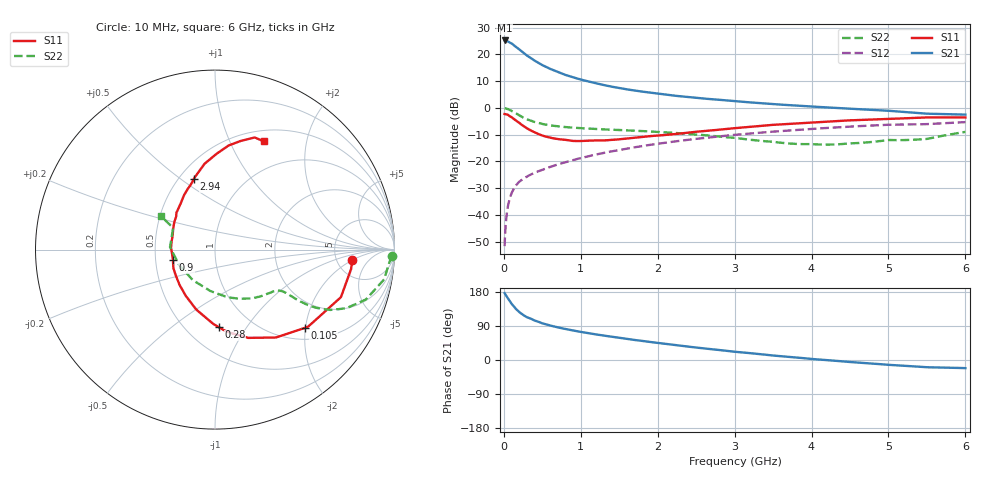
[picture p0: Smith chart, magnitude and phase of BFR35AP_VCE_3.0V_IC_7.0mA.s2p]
! Infineon Technologies  Discrete & RF Semiconductors
! BFR35AP
! VCE =  3.0 V,  IC =  7.0 mA
! Common Emitter S-Parameters:  Nov 2015
# GHz  S  MA  R  50
!  f  S11  S21  S12  S22
! GHz  MAG  ANG  MAG  ANG  MAG  ANG  MAG  ANG
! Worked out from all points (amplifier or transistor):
!   210 points, 10 MHz to 6 GHz, reference 50 ohm
!   highest |S21| = 25.2 dB at 10 MHz (marker M1)
!   |S21| within 3 dB of that: start of sweep to 184.3 MHz
!   unconditionally stable (mu >= 1): 675 MHz to 3.471 GHz
!   at 185 MHz: K = 0.46, MSG = 25.1 dB, |S12| = -28.1 dB
!   at 1.52 GHz: K = 1.12, MAG = 9.3 dB, |S12| = -15.6 dB
!   at 6 GHz: K = 0.96, MSG = 1.4 dB, |S12| = -5.3 dB
!   S11 on the Smith chart (normalised r, x): 10 MHz: 7.05, -1.98; 105 MHz: 1.27, -1.98; 280 MHz: 0.71, -0.76; 900 MHz: 0.62, -0.08; 2.94 GHz: 0.59, +0.56; 6 GHz: 0.63, +1.35
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0.01  0.7677 -4.3  18.21 176.6  0.0026 88.1  0.9878 -2.0
0.02  0.7658 -8.2  17.97 172.9  0.0054 85.4  0.9744 -4.1
0.05  0.75 -20.7  17.57 163.3  0.0139 79.3  0.9567 -10.0
0.1  0.673 -39.8  16.11 148.6  0.0254 71.4  0.8855 -18.3
0.105  0.6633 -41.2  15.88 147.5  0.0263 70.6  0.8767 -18.8
0.15  0.5956 -55.3  14.09 136.0  0.0344 65.3  0.8011 -24.1
0.2  0.5259 -69.3  12.4 126.5  0.0416 62.1  0.7258 -27.6
0.24  0.4738 -79.0  11.14 120.4  0.0458 60.5  0.6732 -29.2
0.28  0.4328 -87.2  10.04 115.5  0.05 59.6  0.6309 -30.3
0.3  0.4149 -91.2  9.52 113.0  0.052 59.3  0.6115 -30.8
0.4  0.35 -107.4  7.64 104.2  0.0614 58.3  0.5454 -31.4
0.5  0.3043 -122.5  6.302 96.7  0.0695 58.9  0.4993 -31.4
0.7  0.2617 -146.6  4.689 86.1  0.0874 60.4  0.4518 -31.5
0.9  0.2409 -166.0  3.718 77.8  0.106 60.6  0.4267 -32.4
1.02  0.2407 -176.2  3.33 73.5  0.1172 60.7  0.4163 -33.2
1.4  0.2522 158.5  2.492 61.4  0.1539 59.7  0.3917 -37.8
2.02  0.3054 132.1  1.827 44.6  0.2153 55.1  0.3535 -48.5
2.94  0.4093 106.9  1.359 23.2  0.3076 45.2  0.2794 -73.1
3.1  0.4294 103.8  1.3 20.0  0.3224 43.1  0.2639 -78.9
4.1  0.5438 87.6  1.04 1.3  0.4129 30.5  0.2067 -132.2
5.1  0.6295 75.4  0.861 -13.9  0.4857 16.5  0.2496 171.9
6  0.6611 65.8  0.749 -21.4  0.5418 6.3  0.356 148.2
